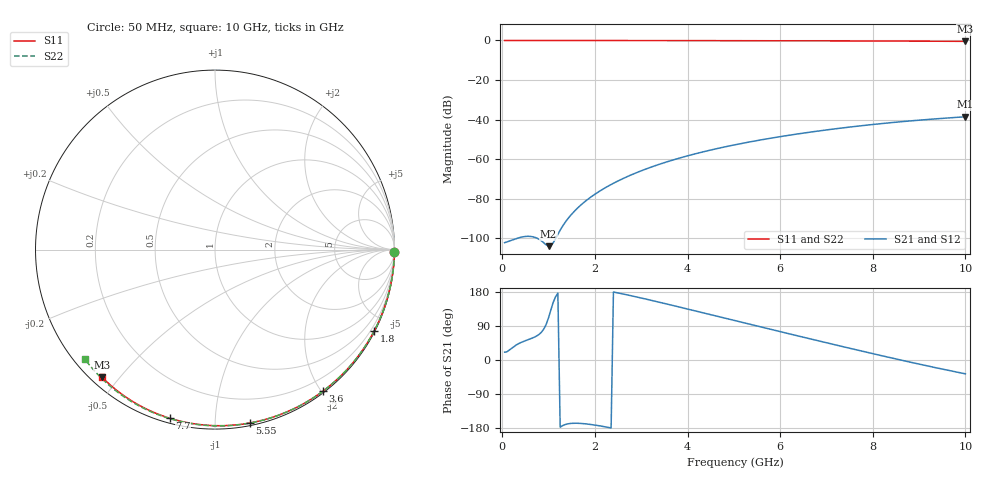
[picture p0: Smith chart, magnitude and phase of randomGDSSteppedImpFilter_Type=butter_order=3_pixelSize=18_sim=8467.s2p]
! freq	dB(S11)	phase(S11)	dB(S12)	phase(S12)
!  dB(S21)	phase(S21)	dB(S22)	phase(S22)
!S-par simulation data
#  GHz  S  DB  R 50
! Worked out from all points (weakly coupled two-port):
!   200 points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, 50 MHz to 10 GHz, reference 50 ohm
!   highest |S21| = -38.55 dB at 10 GHz (marker M1); lowest = -103.9 dB at 1 GHz (marker M2)
!   lowest |S11| = -0.5 dB at 10 GHz (marker M3), VSWR 38.61, Z = 1.56 - j22.6 ohm
!   |S11| at or under -10 dB: nowhere
!   |S22| runs from -0.5 to 0.0 dB; largest |S21 - S12| = 0
!   S11 on the Smith chart (normalised r, x): 50 MHz: open; 1.8 GHz: 0.04, -4.18; 3.6 GHz: 0.02, -2.02; 5.55 GHz: 0.02, -1.22; 7.7 GHz: 0.02, -0.77; 10 GHz: 0.03, -0.45
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0.05  -0.00 -0.8  -102.15 20.7  -102.15 20.7  -0.00 -0.8
0.5  -0.01 -7.6  -99.00 51.0  -99.00 51.0  -0.01 -8.1
1  -0.02 -15.1  -103.91 112.0  -103.91 112.0  -0.02 -16.1
1.75  -0.03 -26.2  -82.04 -167.9  -82.04 -167.9  -0.04 -27.9
1.8  -0.03 -26.9  -81.08 -168.5  -81.08 -168.5  -0.04 -28.7
1.85  -0.04 -27.7  -80.18 -169.2  -80.18 -169.2  -0.04 -29.4
2.2  -0.04 -32.8  -74.73 -175.8  -74.73 -175.8  -0.04 -34.9
2.55  -0.05 -37.8  -70.38 175.7  -70.38 175.7  -0.05 -40.2
2.95  -0.06 -43.5  -66.30 165.0  -66.30 165.0  -0.06 -46.3
3.4  -0.07 -49.9  -62.48 152.2  -62.48 152.2  -0.07 -53.0
3.6  -0.07 -52.7  -60.98 146.4  -60.98 146.4  -0.08 -56.0
3.9  -0.08 -56.8  -58.92 137.5  -58.92 137.5  -0.08 -60.3
4.3  -0.09 -62.2  -56.47 125.6  -56.47 125.6  -0.09 -66.1
5.05  -0.11 -72.2  -52.57 103.1  -52.57 103.1  -0.12 -76.6
5.55  -0.13 -78.7  -50.37 88.2  -50.37 88.2  -0.14 -83.5
6.1  -0.15 -85.6  -48.22 71.9  -48.22 71.9  -0.16 -90.8
6.7  -0.18 -93.0  -46.14 54.3  -46.14 54.3  -0.19 -98.7
7.2  -0.21 -99.1  -44.60 39.7  -44.60 39.7  -0.22 -105.1
7.7  -0.24 -105.0  -43.21 25.3  -43.21 25.3  -0.25 -111.4
8.35  -0.29 -112.6  -41.62 6.9  -41.62 6.9  -0.30 -119.5
9.2  -0.36 -122.4  -39.88 -16.2  -39.88 -16.2  -0.38 -130.0
10  -0.45 -131.4  -38.55 -36.5  -38.55 -36.5  -0.47 -139.8
